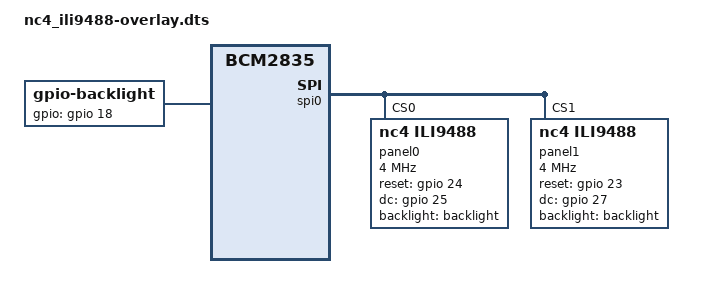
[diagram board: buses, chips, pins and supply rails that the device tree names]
/*
 * Enhanced Device Tree overlay for ILI9488
 * Modified to support two displays (panel0@0 and panel1@1)
 *
 * Notes:
 * - This overlay enables SPI0 and configures two ILI9488 devices on CE0 and CE1.
 * - Each display node uses a unique DC and RESET GPIO line.
 * - Both displays share the same SPI lines (MOSI, SCLK) and the same backlight.
 * - The "panel0_pins" and "panel1_pins" pinctrl groups are used to set these GPIOs as outputs.
 */

/dts-v1/;
/plugin/;

/ {
	compatible = "brcm,bcm2835";

	/* Fragment to enable SPI0 hardware */
	fragment@0 {
		target = <&spi0>;
		__overlay__ {
			status = "okay";
		};
	};

	/* Fragment to disable the default spidev0 device (SPI0 CS0) */
	fragment@1 {
		target = <&spidev0>;
		__overlay__ {
			status = "disabled";
		};
	};

		/* Fragment to disable the default spidev0 device (SPI0 CS1) */
	fragment@2 {
		target = <&spidev1>;
		__overlay__ {
			status = "disabled";
		};
	};

	/* Fragment for the first display's pins (LCD_0):
	 * GPIO24 = RESET (out)
	 * GPIO25 = DC (out)
	 * GPIO18 = Backlight (out, shared)
	 */
	fragment@3 {
		target = <&gpio>;
		__overlay__ {
			panel0_pins: panel0_pins {
				brcm,pins = <24 25 18>;
				brcm,function = <1 1 1>; /* set as output */
			};
		};
	};

	/* Fragment for the first ILI9488 device node (LCD_0) on SPI0 CE0 */
	fragment@4 {
		target = <&spi0>;
		__overlay__ {
			#address-cells = <1>;
			#size-cells = <0>;

			panel0: panel0@0 {
				compatible = "nc4,ili9488";
				pinctrl-names = "default";
				pinctrl-0 = <&panel0_pins>;

				reg = <0>; /* CE0 line */
				spi-max-frequency = <4000000>;

				/* Using project-specific GPIOs from original snippet */
				reset-gpios = <&gpio 24 0>;
				dc-gpios = <&gpio 25 0>;
				backlight = <&backlight>;
			};
		};
	};

	/* Fragment defining the backlight control, shared by all displays */
	fragment@5 {
		target-path = "/soc";
		__overlay__ {
			backlight: backlight {
				compatible = "gpio-backlight";
				gpios = <&gpio 18 0>;
			};
		};
	};

	/* Fragment for the second display's pins (LCD_1):
	 * GPIO23 = RESET (out)
	 * GPIO27 = DC (out)
	 * Backlight is shared (GPIO18)
	 */
	fragment@6 {
		target = <&gpio>;
		__overlay__ {
			panel1_pins: panel1_pins {
				brcm,pins = <23 27>;
				brcm,function = <1 1>; /* set as output */
			};
		};
	};

	/* Fragment for the second ILI9488 device node (LCD_1) on SPI0 CE1 */
	fragment@7 {
		target = <&spi0>;
		__overlay__ {
			#address-cells = <1>;
			#size-cells = <0>;

			panel1: panel1@1 {
				compatible = "nc4,ili9488";
				pinctrl-names = "default";
				pinctrl-0 = <&panel1_pins>;

				reg = <1>; /* CE1 line */
				spi-max-frequency = <4000000>;

				reset-gpios = <&gpio 23 0>;
				dc-gpios = <&gpio 27 0>;
				backlight = <&backlight>;
			};
		};
	};

	/* Override parameters for speed if needed */
	__overrides__ {
		speed = <&panel0>,"spi-max-frequency:0", <&panel1>,"spi-max-frequency:0";
	};
};
